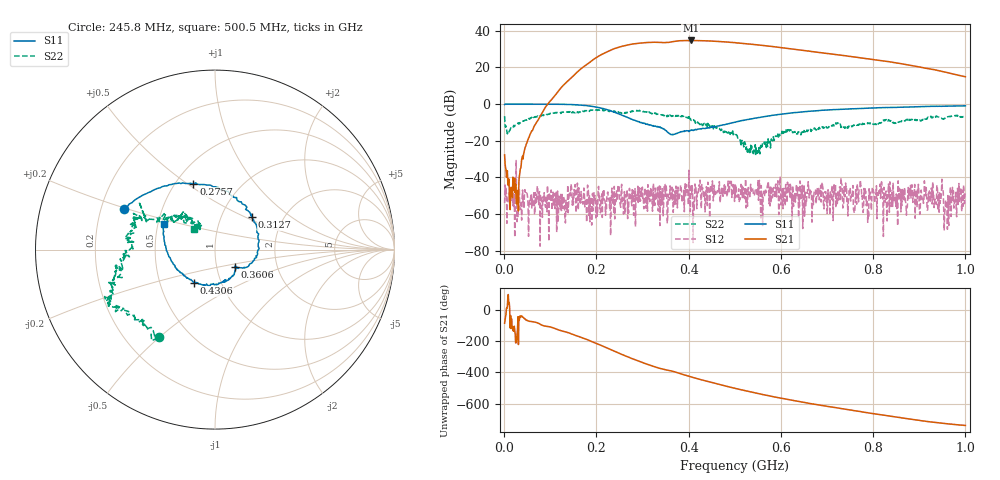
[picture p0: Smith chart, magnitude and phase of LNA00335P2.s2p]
! Created with skrf 1.9.0 (http://scikit-rf.org).
# Hz S RI R 50.0
!freq ReS11 ImS11 ReS21 ImS21 ReS12 ImS12 ReS22 ImS22
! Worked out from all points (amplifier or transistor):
!   1001 points, 1 MHz to 1 GHz, reference 50 ohm
!   highest |S21| = 34.7 dB at 404.6 MHz (marker M1)
!   |S21| within 3 dB of that: 258.7 MHz to 570.3 MHz (311.5 MHz wide, 75.2 % of centre)
!   unconditionally stable (mu >= 1): start of sweep to 71.59 MHz; 299.7 MHz to 400.3 MHz; 400.9 MHz to end of sweep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
!   at 166.8 MHz: K = 1.56, MAG = 29.1 dB, |S12| = -47.7 dB
!   at 500.5 MHz: K = 1.67, MAG = 34.0 dB, |S12| = -44.1 dB
!   at 1 GHz: K = 3.44, MAG = 23.5 dB, |S12| = -48.8 dB
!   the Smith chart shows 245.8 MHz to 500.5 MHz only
!   S11 on the Smith chart (normalised r, x): 245.8 MHz: 0.30, +0.19; 275.7 MHz: 0.61, +0.53; 312.7 MHz: 1.39, +0.54; 360.6 MHz: 1.22, -0.25; 430.6 MHz: 0.74, -0.29; 500.5 MHz: 0.54, +0.17
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1000000  0.9662 -0.00346  0.00297 -0.0408  -0.00195 -0.000387  0.38 0.2699
1.08892e8  0.5069 -0.856  -0.7807 -1.443  -0.000562 0.0036  0.4367 -0.3618
1.67833e8  -0.2613 -0.8934  -9.452 -0.5531  0.00161 -0.00227  0.0384 -0.6239
2.11789e8  -0.698 -0.3207  -14.75 17.22  -0.00166 -0.00313  -0.1827 -0.651
2.45755e8  -0.5089 0.2263  1.887 34.73  -0.000835 0.00216  -0.3107 -0.4895
2.75725e8  -0.1202 0.3662  27.62 32.91  -0.00135 -0.00192  -0.5505 -0.3118
3.12688e8  0.2044 0.1805  47.27 8.019  -0.00254 -0.000617  -0.5596 -0.1836
3.34666e8  0.2355 -0.0149  47.52 -9.686  0.00084 0.000862  -0.5197 -0.0696
3.6064e8  0.1119 -0.0984  42.91 -24.01  0.00396 0.00163  -0.4833 0.0902
3.77623e8  0.112 -0.121  38.38 -36.49  0.000233 0.00337  -0.4566 0.1748
4.04596e8  0.02 -0.1914  20.43 -50.49  3.31e-05 0.00427  -0.3327 0.1672
4.3057e8  -0.1161 -0.1849  0.6559 -53.47  0.000428 0.00517  -0.1907 0.1797
4.65535e8  -0.2492 -0.0487  -22.84 -45.7  0.00469 0.00125  -0.1225 0.1785
5.005e8  -0.2829 0.1443  -37.22 -29.67  0.000821 -0.00619  -0.1173 0.1143
5.4046e8  -0.2015 0.3488  -41.32 -8.754  0.00159 -0.00314  -0.0324 0.0236
5.88412e8  0.0164 0.5062  -34.51 11.05  0.00278 -0.00573  -0.103 -0.0881
6.28372e8  0.2105 0.5449  -24.21 19.97  -0.00124 -0.00269  -0.125 -0.118
6.67333e8  0.4031 0.5019  -13.38 23.44  -0.000381 -0.000465  -0.1889 -0.0663
7.53247e8  0.6855 0.2834  3.818 19.32  -0.00335 0.00034  -0.2414 -0.036
8.34166e8  0.8047 0.014  10.57 9.661  -0.0048 -0.00187  -0.3612 -0.0762
9.18082e8  0.8205 -0.28  9.231 1.078  -0.00095 -0.00087  -0.4256 0.0657
1e9  0.7274 -0.5248  5.28 -1.748  -0.00339 0.00134  -0.4102 0.2022
